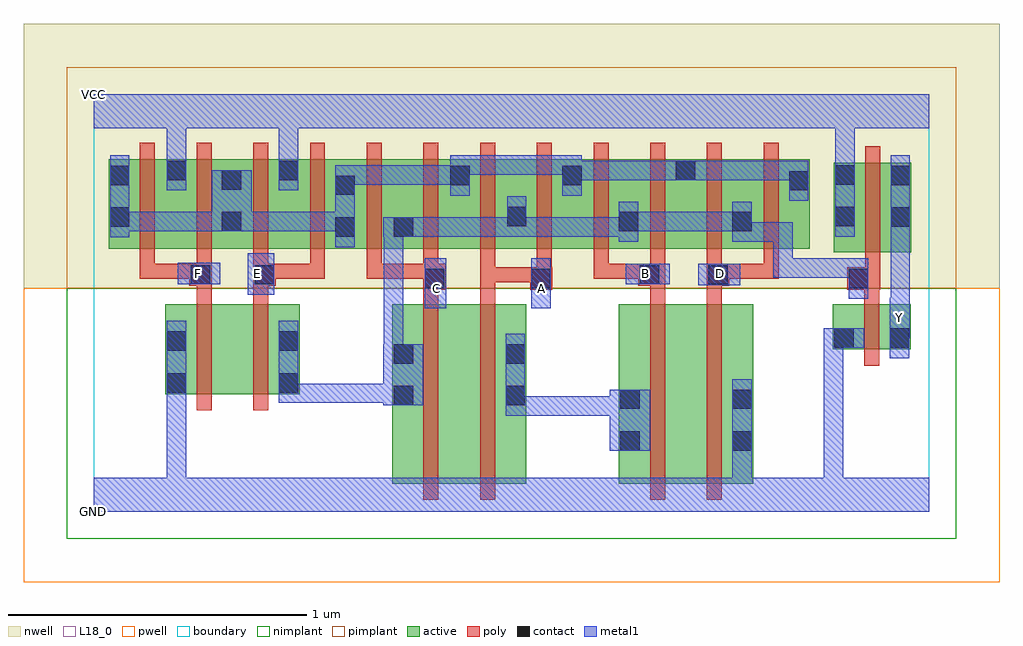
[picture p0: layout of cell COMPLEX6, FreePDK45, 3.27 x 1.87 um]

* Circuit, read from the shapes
.subckt COMPLEX6 A B C D E F GND VCC Y
M1 n1 F GND VSUBS nfet w=0.3u l=0.05u
M2 n2 E n1 VSUBS nfet w=0.3u l=0.05u
M3 n3 C n2 VSUBS nfet w=0.6u l=0.05u
M4 n4 A n3 VSUBS nfet w=0.6u l=0.05u
M5 n5 B n4 VSUBS nfet w=0.6u l=0.05u
M6 GND D n5 VSUBS nfet w=0.6u l=0.05u
M7 Y n2 GND VSUBS nfet w=0.15u l=0.05u
M8 VCC F n6 n7 pfet w=0.3u l=0.05u m=2
M9 VCC E n6 n7 pfet w=0.3u l=0.05u m=2
M10 n2 C n6 n7 pfet w=0.3u l=0.05u m=2
M11 n2 A n6 n7 pfet w=0.3u l=0.05u m=2
M12 n2 B n6 n7 pfet w=0.3u l=0.05u m=2
M13 n2 D n6 n7 pfet w=0.3u l=0.05u m=2
M14 Y n2 VCC n7 pfet w=0.3u l=0.05u
.ends

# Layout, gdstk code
import gdstk
lib = gdstk.Library(unit=1e-6, precision=1e-09)
def R(c, l, rs):  # rectangles x0, y0, x1, y1
    for r in rs: c.add(gdstk.rectangle(r[:2], r[2:], *l))
def A(c, l, x, y, w, h, nx, ny, dx, dy):  # array of equal rectangles
    R(c, l, [(x+i*dx, y+j*dy, x+i*dx+w, y+j*dy+h) for i in range(nx) for j in range(ny)])
active = (1, 0)
pwell = (2, 0)
nwell = (3, 0)
nimplant = (4, 0)
pimplant = (5, 0)
poly = (9, 0)
contact = (10, 0)
metal1 = (11, 0)
L18_0 = (18, 0)
boundary = (235, 0)

complex6 = lib.new_cell('COMPLEX6')
A(complex6, active, 1.565, 0.882, 0.265, 0.3, 4, 1, 0.19, 0)
R(complex6, active, [(1,0.095,1.225,0.695), (1,0.095,1.105,0.695), (1.225,0.095,1.45,0.695), (1.375,0.095,1.45,0.695), (1.76,0.095,1.985,0.695), (1.76,0.095,1.865,0.695), (1.985,0.095,2.21,0.695), (2.135,0.095,2.21,0.695), (0.24,0.395,0.315,0.695), (0.24,0.395,0.465,0.695), (0.465,0.395,0.69,0.695), (0.615,0.395,0.69,0.695), (2.477,0.545,2.552,0.695), (2.477,0.545,2.737,0.695), (2.662,0.545,2.737,0.695), (2.48,0.87,2.555,1.17), (2.48,0.87,2.74,1.17), (2.665,0.87,2.74,1.165), (0.05,0.882,0.315,1.182), (0.05,0.882,0.125,1.165), (0.24,0.882,0.5,1.182), (0.425,0.882,0.69,1.182), (0.615,0.882,0.88,1.182), (0.805,0.882,1.075,1.182), (0.805,0.882,0.88,1.17), (1,0.882,1.265,1.182), (1.19,0.882,1.455,1.182), (1.38,0.882,1.64,1.182), (2.325,0.882,2.4,1.167), (1,0.917,1.075,1.07), (0.425,0.935,0.5,1.182), (1.755,0.935,1.83,1.07), (2.135,0.935,2.21,1.07), (1.38,0.952,1.455,1.07), (0.615,0.995,0.69,1.182), (1.19,0.995,1.265,1.167), (1.565,0.995,1.64,1.165), (1.945,0.995,2.02,1.182), (0.24,1.007,0.315,1.182)])
R(complex6, pwell, [(-0.235,-0.235,3.035,0.75)])
R(complex6, nwell, [(-0.235,0.75,3.035,1.635)])
R(complex6, nimplant, [(-0.09,-0.09,2.89,0.75)])
R(complex6, pimplant, [(-0.09,0.75,2.89,1.49)])
A(complex6, poly, 0.155, 0.782, 0.05, 0.095, 6, 1, 0.19, 0)
A(complex6, poly, 1.675, 0.782, 0.05, 0.095, 4, 1, 0.19, 0)
A(complex6, poly, 0.155, 0.827, 0.05, 0.41, 12, 1, 0.19, 0)
R(complex6, poly, [(1.105,0.04,1.155,0.75), (1.295,0.04,1.345,0.75), (1.865,0.04,1.915,0.75), (2.055,0.04,2.105,0.75), (0.345,0.34,0.395,0.75), (0.535,0.34,0.585,0.75), (2.582,0.49,2.632,0.75), (0.345,0.7,0.395,0.807), (0.535,0.7,0.585,0.807), (1.105,0.7,1.155,0.795), (1.295,0.7,1.345,0.82), (1.865,0.7,1.915,0.807), (2.055,0.7,2.105,0.807), (2.582,0.7,2.632,0.795), (1.105,0.745,1.18,0.832), (1.462,0.745,1.537,0.82), (2.525,0.745,2.635,0.82), (0.32,0.757,0.395,0.832), (0.535,0.757,0.61,0.832), (1.825,0.757,1.915,0.832), (2.055,0.757,2.13,0.832), (1.295,0.77,1.345,0.82), (1.295,0.77,1.345,0.82), (1.295,0.77,1.345,0.82), (1.295,0.77,1.345,0.877), (1.295,0.77,1.512,0.82), (1.485,0.77,1.535,0.877), (2.585,0.77,2.635,0.865), (0.155,0.782,0.205,0.832), (0.155,0.782,0.37,0.832), (0.32,0.782,0.37,0.832), (0.32,0.782,0.37,0.832), (0.56,0.782,0.61,0.832), (0.56,0.782,0.61,0.832), (0.56,0.782,0.775,0.832), (0.725,0.782,0.775,0.832), (0.915,0.782,0.965,0.832), (0.915,0.782,0.965,0.832), (0.915,0.782,0.965,0.832), (0.915,0.782,1.155,0.832), (1.675,0.782,1.725,0.832), (1.675,0.782,1.875,0.832), (1.825,0.782,1.875,0.832), (1.825,0.782,1.875,0.832), (2.08,0.782,2.295,0.832), (2.245,0.782,2.295,0.832), (2.245,0.782,2.295,0.832), (2.245,0.782,2.295,0.832), (2.585,0.815,2.635,1.225)])
R(complex6, contact, [(1.765,0.205,1.83,0.27), (2.14,0.205,2.205,0.27), (1.765,0.345,1.83,0.41), (2.14,0.345,2.205,0.41), (1.005,0.357,1.07,0.422), (1.38,0.357,1.445,0.422), (0.245,0.4,0.31,0.465), (0.62,0.4,0.685,0.465), (1.005,0.497,1.07,0.562), (1.38,0.497,1.445,0.562), (0.245,0.54,0.31,0.605), (0.62,0.54,0.685,0.605), (2.482,0.55,2.547,0.615), (2.667,0.55,2.732,0.615), (1.11,0.75,1.175,0.815), (1.467,0.75,1.532,0.815), (2.53,0.75,2.595,0.815), (0.325,0.762,0.39,0.827), (0.54,0.762,0.605,0.827), (1.83,0.762,1.895,0.827), (2.06,0.762,2.125,0.827), (0.81,0.922,0.875,0.987), (1.005,0.922,1.07,0.987), (0.43,0.94,0.495,1.005), (1.76,0.94,1.825,1.005), (2.14,0.94,2.205,1.005), (0.055,0.955,0.12,1.02), (2.67,0.955,2.735,1.02), (1.385,0.957,1.45,1.022), (2.485,0.957,2.55,1.022), (0.81,1.062,0.875,1.127), (2.33,1.077,2.395,1.142), (0.43,1.08,0.495,1.145), (0.055,1.095,0.12,1.16), (1.195,1.095,1.26,1.16), (1.57,1.095,1.635,1.16), (2.67,1.095,2.735,1.16), (2.485,1.097,2.55,1.162), (0.245,1.112,0.31,1.177), (0.62,1.112,0.685,1.177), (1.95,1.112,2.015,1.177)])
R(complex6, metal1, [(0,0,2.8,0.115), (0.245,0.05,0.31,0.115), (0.245,0.05,0.31,0.115), (0.245,0.05,0.31,0.43), (2.14,0.05,2.205,0.235), (2.447,0.05,2.512,0.115), (2.447,0.05,2.512,0.115), (2.447,0.05,2.512,0.115), (2.447,0.05,2.512,0.115), (2.447,0.05,2.512,0.615), (2.14,0.17,2.205,0.445), (1.73,0.205,1.865,0.41), (1.38,0.322,1.445,0.597), (1.38,0.322,1.445,0.387), (1.38,0.322,1.445,0.387), (1.38,0.322,1.657,0.387), (1.592,0.322,1.657,0.387), (1.592,0.322,1.657,0.387), (1.592,0.322,1.657,0.387), (1.592,0.322,1.795,0.387), (0.97,0.357,1.105,0.562), (0.245,0.365,0.31,0.64), (0.245,0.365,0.31,0.43), (0.245,0.365,0.31,0.43), (0.62,0.365,0.685,0.64), (0.62,0.365,0.685,0.43), (0.62,0.365,0.685,0.43), (0.62,0.365,0.875,0.43), (0.81,0.365,0.875,0.43), (0.81,0.365,0.875,0.43), (0.81,0.365,0.875,0.43), (0.81,0.365,1.035,0.43), (0.972,0.497,1.037,0.987), (2.667,0.515,2.732,0.65), (2.447,0.55,2.512,0.615), (2.447,0.55,2.512,0.615), (2.447,0.55,2.582,0.615), (2.667,0.582,2.735,0.717), (2.667,0.585,2.732,0.65), (2.67,0.652,2.735,0.985), (1.11,0.682,1.182,0.85), (1.467,0.682,1.532,0.85), (2.53,0.715,2.595,0.85), (0.517,0.727,0.605,0.867), (2.025,0.76,2.167,0.832), (0.282,0.762,0.425,0.835), (1.782,0.762,1.93,0.832), (2.277,0.785,2.342,0.85), (2.277,0.785,2.342,0.85), (2.277,0.785,2.342,0.85), (2.277,0.785,2.342,0.85), (2.277,0.785,2.595,0.85), (2.277,0.785,2.342,0.97), (0.81,0.887,0.875,1.162), (1.76,0.905,1.825,1.04), (2.14,0.905,2.205,0.97), (2.14,0.905,2.205,0.97), (2.14,0.905,2.205,1.04), (2.14,0.905,2.342,0.97), (0.055,0.92,0.12,1.195), (2.67,0.92,2.735,1.195), (0.97,0.922,1.105,0.987), (0.972,0.922,1.037,0.987), (0.972,0.922,1.037,0.987), (1.04,0.922,1.105,0.987), (1.04,0.922,1.105,0.987), (1.04,0.922,1.26,0.987), (1.195,0.922,1.26,0.987), (1.195,0.922,1.26,0.987), (1.195,0.922,1.26,0.987), (1.195,0.922,1.45,0.987), (1.385,0.922,1.45,0.987), (1.385,0.922,1.45,0.987), (1.385,0.922,1.45,1.057), (1.385,0.922,1.657,0.987), (1.592,0.922,1.657,0.987), (1.592,0.922,1.657,0.987), (1.592,0.922,1.657,0.987), (1.592,0.922,1.825,0.987), (2.485,0.922,2.55,1.197), (0.055,0.94,0.12,1.005), (0.055,0.94,0.12,1.005), (0.055,0.94,0.322,1.005), (0.257,0.94,0.322,1.005), (0.257,0.94,0.322,1.005), (0.257,0.94,0.322,1.005), (0.257,0.94,0.46,1.005), (0.395,0.94,0.53,1.145), (0.465,0.94,0.53,1.005), (0.465,0.94,0.53,1.005), (0.465,0.94,0.737,1.005), (0.672,0.94,0.737,1.005), (0.672,0.94,0.737,1.005), (0.672,0.94,0.737,1.005), (0.672,0.94,0.875,1.005), (1.76,0.94,1.825,1.005), (1.76,0.94,1.825,1.005), (1.76,0.94,1.98,1.005), (1.915,0.94,1.98,1.005), (1.915,0.94,1.98,1.005), (1.915,0.94,1.98,1.005), (1.915,0.94,2.205,1.005), (2.33,1.042,2.395,1.177), (1.195,1.06,1.26,1.195), (1.57,1.06,1.635,1.195), (0.245,1.077,0.31,1.212), (0.62,1.077,0.685,1.212), (0.81,1.097,0.875,1.162), (0.81,1.097,0.875,1.162), (0.81,1.097,0.875,1.162), (0.81,1.097,0.875,1.162), (0.81,1.097,1.012,1.162), (0.947,1.097,1.012,1.162), (0.947,1.097,1.012,1.162), (0.947,1.097,1.012,1.162), (0.947,1.097,1.26,1.162), (1.57,1.112,1.635,1.177), (1.57,1.112,1.635,1.177), (1.57,1.112,1.842,1.177), (1.777,1.112,1.842,1.177), (1.777,1.112,1.842,1.177), (1.777,1.112,1.842,1.177), (1.777,1.112,1.98,1.177), (1.915,1.112,2.05,1.177), (1.985,1.112,2.05,1.177), (1.985,1.112,2.05,1.177), (1.985,1.112,2.205,1.177), (2.14,1.112,2.205,1.177), (2.14,1.112,2.205,1.177), (2.14,1.112,2.205,1.177), (2.14,1.112,2.395,1.177), (1.195,1.13,1.26,1.195), (1.195,1.13,1.26,1.195), (1.195,1.13,1.397,1.195), (1.332,1.13,1.397,1.195), (1.332,1.13,1.397,1.195), (1.332,1.13,1.397,1.195), (1.332,1.13,1.635,1.195), (2.485,1.132,2.55,1.35), (0.245,1.147,0.31,1.212), (0.245,1.147,0.31,1.212), (0.245,1.147,0.31,1.35), (0.62,1.147,0.685,1.212), (0.62,1.147,0.685,1.212), (0.62,1.147,0.685,1.35), (0,1.285,2.8,1.4), (2.485,1.285,2.55,1.35), (2.485,1.285,2.55,1.35)])
R(complex6, L18_0, [(0,0,2.8,0.115), (0.245,0.05,0.31,0.115), (0.245,0.05,0.31,0.115), (0.245,0.05,0.31,0.43), (2.14,0.05,2.205,0.235), (2.447,0.05,2.512,0.115), (2.447,0.05,2.512,0.115), (2.447,0.05,2.512,0.115), (2.447,0.05,2.512,0.115), (2.447,0.05,2.512,0.615), (2.14,0.17,2.205,0.445), (0.245,0.365,0.31,0.43), (0.245,0.365,0.31,0.43), (0.245,0.365,0.31,0.64), (2.667,0.515,2.732,0.65), (2.447,0.55,2.512,0.615), (2.447,0.55,2.512,0.615), (2.447,0.55,2.582,0.615), (2.667,0.582,2.735,0.717), (2.667,0.585,2.732,0.65), (2.667,0.617,2.732,0.682), (2.67,0.652,2.735,0.985), (1.11,0.682,1.182,0.85), (1.467,0.682,1.532,0.85), (1.117,0.717,1.182,0.782), (1.467,0.717,1.532,0.782), (0.517,0.727,0.605,0.867), (2.025,0.76,2.167,0.832), (0.282,0.762,0.425,0.835), (1.782,0.762,1.93,0.832), (0.317,0.767,0.382,0.832), (0.517,0.767,0.582,0.832), (1.817,0.767,1.882,0.832), (2.067,0.767,2.132,0.832), (2.67,0.92,2.735,1.195), (2.485,0.922,2.55,1.197), (0.245,1.077,0.31,1.212), (0.62,1.077,0.685,1.212), (2.485,1.132,2.55,1.35), (0.245,1.147,0.31,1.212), (0.245,1.147,0.31,1.212), (0.245,1.147,0.31,1.35), (0.62,1.147,0.685,1.212), (0.62,1.147,0.685,1.212), (0.62,1.147,0.685,1.35), (0,1.285,2.8,1.4), (2.485,1.285,2.55,1.35), (2.485,1.285,2.55,1.35)])
R(complex6, boundary, [(0,0,2.8,1.4)])
complex6.add(gdstk.Label('A', (1.5,0.75), layer=11, texttype=0))
complex6.add(gdstk.Label('B', (1.85,0.8), layer=11, texttype=0))
complex6.add(gdstk.Label('C', (1.15,0.75), layer=11, texttype=0))
complex6.add(gdstk.Label('D', (2.1,0.8), layer=11, texttype=0))
complex6.add(gdstk.Label('E', (0.55,0.8), layer=11, texttype=0))
complex6.add(gdstk.Label('F', (0.35,0.8), layer=11, texttype=0))
complex6.add(gdstk.Label('Y', (2.7,0.65), layer=11, texttype=0))
complex6.add(gdstk.Label('VCC', (0,1.4), layer=11, texttype=0))
complex6.add(gdstk.Label('GND', (0,0), layer=11, texttype=0))

lib.write_gds('COMPLEX6.gds')
